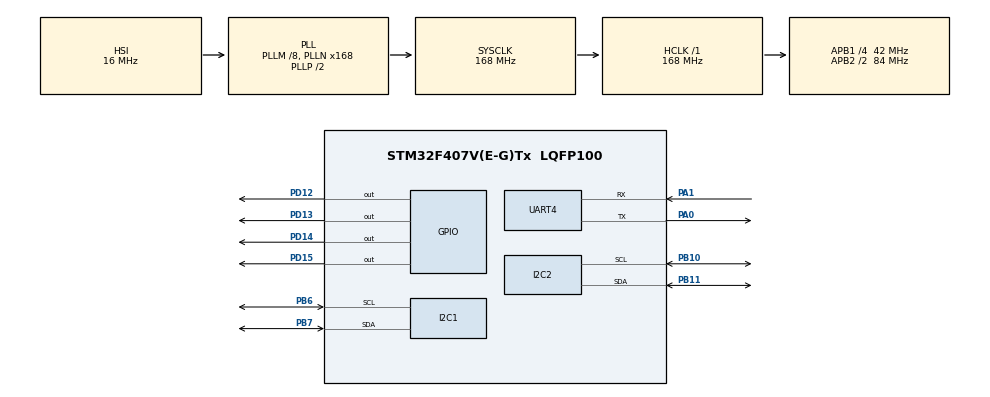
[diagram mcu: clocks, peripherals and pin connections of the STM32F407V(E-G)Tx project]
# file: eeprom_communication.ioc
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Dma.I2C1_RX.1.Direction=DMA_PERIPH_TO_MEMORY
Dma.I2C1_RX.1.FIFOMode=DMA_FIFOMODE_DISABLE
Dma.I2C1_RX.1.Instance=DMA1_Stream0
Dma.I2C1_RX.1.MemDataAlignment=DMA_MDATAALIGN_BYTE
Dma.I2C1_RX.1.MemInc=DMA_MINC_ENABLE
Dma.I2C1_RX.1.Mode=DMA_CIRCULAR
Dma.I2C1_RX.1.PeriphDataAlignment=DMA_PDATAALIGN_BYTE
Dma.I2C1_RX.1.PeriphInc=DMA_PINC_DISABLE
Dma.I2C1_RX.1.Priority=DMA_PRIORITY_LOW
Dma.I2C1_TX.2.Direction=DMA_MEMORY_TO_PERIPH
Dma.I2C1_TX.2.FIFOMode=DMA_FIFOMODE_DISABLE
Dma.I2C1_TX.2.Instance=DMA1_Stream6
Dma.I2C1_TX.2.MemDataAlignment=DMA_MDATAALIGN_BYTE
Dma.I2C1_TX.2.MemInc=DMA_MINC_ENABLE
Dma.I2C1_TX.2.Mode=DMA_CIRCULAR
Dma.I2C1_TX.2.PeriphDataAlignment=DMA_PDATAALIGN_BYTE
Dma.I2C1_TX.2.PeriphInc=DMA_PINC_DISABLE
Dma.I2C1_TX.2.Priority=DMA_PRIORITY_LOW
Dma.Request0=UART4_TX
Dma.Request1=I2C1_RX
Dma.Request2=I2C1_TX
Dma.UART4_TX.0.Direction=DMA_MEMORY_TO_PERIPH
Dma.UART4_TX.0.FIFOMode=DMA_FIFOMODE_DISABLE
Dma.UART4_TX.0.Instance=DMA1_Stream4
Dma.UART4_TX.0.MemDataAlignment=DMA_MDATAALIGN_BYTE
Dma.UART4_TX.0.MemInc=DMA_MINC_ENABLE
Dma.UART4_TX.0.Mode=DMA_NORMAL
Dma.UART4_TX.0.PeriphDataAlignment=DMA_PDATAALIGN_BYTE
Dma.UART4_TX.0.PeriphInc=DMA_PINC_DISABLE
Dma.UART4_TX.0.Priority=DMA_PRIORITY_LOW
Mcu.Family=STM32F4
Mcu.Name=STM32F407V(E-G)Tx
Mcu.Package=LQFP100
NVIC.DMA1_Stream0_IRQn=true\:0\:0\:false\:false\:true\:false
NVIC.DMA1_Stream4_IRQn=true\:0\:0\:false\:false\:true\:false
NVIC.DMA1_Stream6_IRQn=true\:0\:0\:false\:false\:true\:false
NVIC.I2C1_EV_IRQn=true\:0\:0\:false\:false\:true\:true
NVIC.I2C2_EV_IRQn=true\:0\:0\:false\:false\:true\:true
NVIC.PriorityGroup=NVIC_PRIORITYGROUP_4
NVIC.RCC_IRQn=true\:0\:0\:false\:false\:true\:true
NVIC.UART4_IRQn=true\:1\:0\:true\:false\:true\:true
PA0-WKUP.Mode=Asynchronous
PA0-WKUP.Signal=UART4_TX
PA1.Mode=Asynchronous
PA1.Signal=UART4_RX
PB10.Mode=I2C
PB10.Signal=I2C2_SCL
PB11.Mode=I2C
PB11.Signal=I2C2_SDA
PB6.Mode=I2C
PB6.Signal=I2C1_SCL
PB7.Mode=I2C
PB7.Signal=I2C1_SDA
PD12.Signal=GPIO_Output
PD13.Signal=GPIO_Output
PD14.Signal=GPIO_Output
PD15.Signal=GPIO_Output
PH0-OSC_IN.Mode=HSE-External-Oscillator
PH0-OSC_IN.Signal=RCC_OSC_IN
PH1-OSC_OUT.Mode=HSE-External-Oscillator
PH1-OSC_OUT.Signal=RCC_OSC_OUT
ProjectManager.HeapSize=0x200
ProjectManager.StackSize=0x400
ProjectManager.TargetToolchain=MDK-ARM V5
RCC.48MHZClocksFreq_Value=48000000
RCC.AHBFreq_Value=168000000
RCC.APB1CLKDivider=RCC_HCLK_DIV4
RCC.APB1Freq_Value=42000000
RCC.APB1TimFreq_Value=84000000
RCC.APB2CLKDivider=RCC_HCLK_DIV2
RCC.APB2Freq_Value=84000000
RCC.APB2TimFreq_Value=168000000
RCC.CortexFreq_Value=168000000
RCC.HCLKFreq_Value=168000000
RCC.HSE_VALUE=8000000
RCC.HSI_VALUE=16000000
RCC.LSE_VALUE=32768
RCC.PLLM=8
RCC.PLLN=168
RCC.PLLQ=7
RCC.SYSCLKFreq_VALUE=168000000
RCC.SYSCLKSource=RCC_SYSCLKSOURCE_PLLCLK
RCC.VCOOutputFreq_Value=336000000
UART4.VirtualMode=Asynchronous
board=STM32F4DISCOVERY

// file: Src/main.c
/**
  ******************************************************************************
  * @file           : main.c
  * @brief          : Main program body
  ******************************************************************************
  ** This notice applies to any and all portions of this file
  * that are not between comment pairs USER CODE BEGIN and
  * USER CODE END. Other portions of this file, whether
  * inserted by the user or by software development tools
  * are owned by their respective copyright owners.
  *
  * COPYRIGHT(c) 2021 STMicroelectronics
  *
  * Redistribution and use in source and binary forms, with or without modification,
  * are permitted provided that the following conditions are met:
  *   1. Redistributions of source code must retain the above copyright notice,
  *      this list of conditions and the following disclaimer.
  *   2. Redistributions in binary form must reproduce the above copyright notice,
  *      this list of conditions and the following disclaimer in the documentation
  *      and/or other materials provided with the distribution.
  *   3. Neither the name of STMicroelectronics nor the names of its contributors
  *      may be used to endorse or promote products derived from this software
  *      without specific prior written permission.
  *
  * THIS SOFTWARE IS PROVIDED BY THE COPYRIGHT HOLDERS AND CONTRIBUTORS "AS IS"
  * AND ANY EXPRESS OR IMPLIED WARRANTIES, INCLUDING, BUT NOT LIMITED TO, THE
  * IMPLIED WARRANTIES OF MERCHANTABILITY AND FITNESS FOR A PARTICULAR PURPOSE ARE
  * DISCLAIMED. IN NO EVENT SHALL THE COPYRIGHT HOLDER OR CONTRIBUTORS BE LIABLE
  * FOR ANY DIRECT, INDIRECT, INCIDENTAL, SPECIAL, EXEMPLARY, OR CONSEQUENTIAL
  * DAMAGES (INCLUDING, BUT NOT LIMITED TO, PROCUREMENT OF SUBSTITUTE GOODS OR
  * SERVICES; LOSS OF USE, DATA, OR PROFITS; OR BUSINESS INTERRUPTION) HOWEVER
  * CAUSED AND ON ANY THEORY OF LIABILITY, WHETHER IN CONTRACT, STRICT LIABILITY,
  * OR TORT (INCLUDING NEGLIGENCE OR OTHERWISE) ARISING IN ANY WAY OUT OF THE USE
  * OF THIS SOFTWARE, EVEN IF ADVISED OF THE POSSIBILITY OF SUCH DAMAGE.
  *
  ******************************************************************************
  */
#include "main.h"
#include "stm32f4xx_hal.h"

/* USER CODE BEGIN Includes */
#include <stdlib.h>
#include <string.h>
/* USER CODE END Includes */

I2C_HandleTypeDef hi2c1;
I2C_HandleTypeDef hi2c2;
DMA_HandleTypeDef hdma_i2c1_rx;
DMA_HandleTypeDef hdma_i2c1_tx;

UART_HandleTypeDef huart4;
DMA_HandleTypeDef hdma_uart4_tx;

/* USER CODE BEGIN PV */
/* Private variables ---------------------------------------------------------*/

/* USER CODE END PV */

void SystemClock_Config(void);
static void MX_GPIO_Init(void);
static void MX_DMA_Init(void);
static void MX_I2C1_Init(void);
static void MX_I2C2_Init(void);
static void MX_UART4_Init(void);

/* USER CODE BEGIN PFP */
/* Private function prototypes -----------------------------------------------*/
uint16_t string_to_number(uint8_t address[])
{
	volatile uint16_t result=0;
	volatile uint8_t a,b,c=0;

	if ((address[0]<= 57)&(address[0]>=48))
			a = address[0] - 48;
		else if ((address[0]>=65)&(address[0]<=70))
			a = address[0] - 55;
		else if ((address[0]>=97)&(address[0]<=102))
			a = address[0] - 87;

		if ((address[1]<= 57)&(address[1]>=48))
			b = address[1] - 48;
		else if ((address[1]>=65)&(address[1]<=70))
			b = address[1] - 55;
		else if ((address[1]>=97)&(address[1]<=102))
			b = address[1] - 87;

		if ((address[2]<= 57)&(address[2]>=48))
			c = address[2] - 48;
		else if ((address[2]>=65)&(address[2]<=70))
			c = address[2] - 55;
		else if ((address[2]>=97)&(address[2]<=102))
			c = address[2] - 87;

		result = a*16*16 + b*16 + c;

	return result;
	}

void Write_Mem(uint16_t address_from, uint16_t address_to, uint8_t content[])	;
	/* USER CODE END PFP */

/* USER CODE BEGIN 0 */

typedef unsigned char Byte;

uint8_t received_char;
uint8_t i, splitter_counter=1, str_index = 0, add1_index=0, add2_index=0, data_index=0 ;

uint8_t received_data[530];
uint8_t check1[2] = ".\n"; //debug
uint8_t check2[6] = "CHECK\n";
// unsigned char EOL_char = '_'; //debug hercules
uint8_t EOL_char = '\n';

uint8_t address1[3], address2[3];
uint16_t address1_num, address2_num;
uint8_t write_content[512];

uint8_t memory_data[512] = {0};
uint8_t xoa[16] = {0};
uint8_t xoa_n[512] = {0};

#define EEPROMM_ADDRESS  0xA0
/* USER CODE END 0 */

int main(void)
{

  /* MCU Configuration----------------------------------------------------------*/

  /* Reset of all peripherals, Initializes the Flash interface and the Systick. */
  HAL_Init();

  /* Configure the system clock */
  SystemClock_Config();

  /* Initialize all configured peripherals */
  MX_GPIO_Init();
  MX_DMA_Init();
  MX_I2C1_Init();
  MX_I2C2_Init();
  MX_UART4_Init();
  /* USER CODE BEGIN 2 */

	__HAL_UART_FLUSH_DRREGISTER(&huart4);
	HAL_UART_Receive_IT(&huart4, &received_char, 1);

	// quet toan bo eeprom, luu vao mang memory_data
	if (HAL_I2C_Mem_Read_DMA(&hi2c1, (uint16_t)EEPROMM_ADDRESS, 0, I2C_MEMADD_SIZE_8BIT, (uint8_t *)memory_data, 512) != HAL_OK)
  {
    /* Reading process Error */
    Error_Handler();
  }

  /* Wait for the end of the transfer */
  while (HAL_I2C_GetState(&hi2c1) != HAL_I2C_STATE_READY)
  {
  }

  /* USER CODE END 2 */

  /* Infinite loop */
  while (1)
  {

  /* USER CODE BEGIN 3 */

	HAL_GPIO_TogglePin(GPIOD, GPIO_PIN_12|GPIO_PIN_15);
	HAL_Delay(100);
	while (HAL_I2C_Mem_Read_DMA(&hi2c1, (uint16_t)EEPROMM_ADDRESS, 0, I2C_MEMADD_SIZE_8BIT, (uint8_t *)memory_data, 512) != HAL_OK);
//  {
//    /* Reading process Error */
//    Error_Handler();
//  }
	// HAL_UART_Transmit(&huart4, check2, sizeof(check2));

  }
  /* USER CODE END 3 */

}

void SystemClock_Config(void)
{

  RCC_OscInitTypeDef RCC_OscInitStruct;
  RCC_ClkInitTypeDef RCC_ClkInitStruct;

    /**Configure the main internal regulator output voltage
    */
  __HAL_RCC_PWR_CLK_ENABLE();

  __HAL_PWR_VOLTAGESCALING_CONFIG(PWR_REGULATOR_VOLTAGE_SCALE1);

    /**Initializes the CPU, AHB and APB busses clocks
    */
  RCC_OscInitStruct.OscillatorType = RCC_OSCILLATORTYPE_HSI;
  RCC_OscInitStruct.HSIState = RCC_HSI_ON;
  RCC_OscInitStruct.HSICalibrationValue = 16;
  RCC_OscInitStruct.PLL.PLLState = RCC_PLL_ON;
  RCC_OscInitStruct.PLL.PLLSource = RCC_PLLSOURCE_HSI;
  RCC_OscInitStruct.PLL.PLLM = 8;
  RCC_OscInitStruct.PLL.PLLN = 168;
  RCC_OscInitStruct.PLL.PLLP = RCC_PLLP_DIV2;
  RCC_OscInitStruct.PLL.PLLQ = 7;
  if (HAL_RCC_OscConfig(&RCC_OscInitStruct) != HAL_OK)
  {
    _Error_Handler(__FILE__, __LINE__);
  }

    /**Initializes the CPU, AHB and APB busses clocks
    */
  RCC_ClkInitStruct.ClockType = RCC_CLOCKTYPE_HCLK|RCC_CLOCKTYPE_SYSCLK
                              |RCC_CLOCKTYPE_PCLK1|RCC_CLOCKTYPE_PCLK2;
  RCC_ClkInitStruct.SYSCLKSource = RCC_SYSCLKSOURCE_PLLCLK;
  RCC_ClkInitStruct.AHBCLKDivider = RCC_SYSCLK_DIV1;
  RCC_ClkInitStruct.APB1CLKDivider = RCC_HCLK_DIV4;
  RCC_ClkInitStruct.APB2CLKDivider = RCC_HCLK_DIV2;

  if (HAL_RCC_ClockConfig(&RCC_ClkInitStruct, FLASH_LATENCY_5) != HAL_OK)
  {
    _Error_Handler(__FILE__, __LINE__);
  }

    /**Configure the Systick interrupt time
    */
  HAL_SYSTICK_Config(HAL_RCC_GetHCLKFreq()/1000);

    /**Configure the Systick
    */
  HAL_SYSTICK_CLKSourceConfig(SYSTICK_CLKSOURCE_HCLK);

  /* SysTick_IRQn interrupt configuration */
  HAL_NVIC_SetPriority(SysTick_IRQn, 0, 0);
}

/* I2C1 init function */
static void MX_I2C1_Init(void)
{

  hi2c1.Instance = I2C1;
  hi2c1.Init.ClockSpeed = 100000;
  hi2c1.Init.DutyCycle = I2C_DUTYCYCLE_2;
  hi2c1.Init.OwnAddress1 = 0;
  hi2c1.Init.AddressingMode = I2C_ADDRESSINGMODE_7BIT;
  hi2c1.Init.DualAddressMode = I2C_DUALADDRESS_DISABLE;
  hi2c1.Init.OwnAddress2 = 0;
  hi2c1.Init.GeneralCallMode = I2C_GENERALCALL_DISABLE;
  hi2c1.Init.NoStretchMode = I2C_NOSTRETCH_DISABLE;
  if (HAL_I2C_Init(&hi2c1) != HAL_OK)
  {
    _Error_Handler(__FILE__, __LINE__);
  }

}

/* I2C2 init function */
static void MX_I2C2_Init(void)
{

  hi2c2.Instance = I2C2;
  hi2c2.Init.ClockSpeed = 100000;
  hi2c2.Init.DutyCycle = I2C_DUTYCYCLE_2;
  hi2c2.Init.OwnAddress1 = 0;
  hi2c2.Init.AddressingMode = I2C_ADDRESSINGMODE_7BIT;
  hi2c2.Init.DualAddressMode = I2C_DUALADDRESS_DISABLE;
  hi2c2.Init.OwnAddress2 = 0;
  hi2c2.Init.GeneralCallMode = I2C_GENERALCALL_DISABLE;
  hi2c2.Init.NoStretchMode = I2C_NOSTRETCH_DISABLE;
  if (HAL_I2C_Init(&hi2c2) != HAL_OK)
  {
    _Error_Handler(__FILE__, __LINE__);
  }

}

/* UART4 init function */
static void MX_UART4_Init(void)
{

  huart4.Instance = UART4;
  huart4.Init.BaudRate = 115200;
  huart4.Init.WordLength = UART_WORDLENGTH_8B;
  huart4.Init.StopBits = UART_STOPBITS_1;
  huart4.Init.Parity = UART_PARITY_NONE;
  huart4.Init.Mode = UART_MODE_TX_RX;
  huart4.Init.HwFlowCtl = UART_HWCONTROL_NONE;
  huart4.Init.OverSampling = UART_OVERSAMPLING_16;
  if (HAL_UART_Init(&huart4) != HAL_OK)
  {
    _Error_Handler(__FILE__, __LINE__);
  }

}

static void MX_DMA_Init(void)
{
  /* DMA controller clock enable */
  __HAL_RCC_DMA1_CLK_ENABLE();

  /* DMA interrupt init */
  /* DMA1_Stream0_IRQn interrupt configuration */
  HAL_NVIC_SetPriority(DMA1_Stream0_IRQn, 0, 0);
  HAL_NVIC_EnableIRQ(DMA1_Stream0_IRQn);
  /* DMA1_Stream4_IRQn interrupt configuration */
  HAL_NVIC_SetPriority(DMA1_Stream4_IRQn, 0, 0);
  HAL_NVIC_EnableIRQ(DMA1_Stream4_IRQn);
  /* DMA1_Stream6_IRQn interrupt configuration */
  HAL_NVIC_SetPriority(DMA1_Stream6_IRQn, 0, 0);
  HAL_NVIC_EnableIRQ(DMA1_Stream6_IRQn);

}

/** Configure pins as
        * Analog
        * Input
        * Output
        * EVENT_OUT
        * EXTI
*/
static void MX_GPIO_Init(void)
{

  GPIO_InitTypeDef GPIO_InitStruct;

  /* GPIO Ports Clock Enable */
  __HAL_RCC_GPIOH_CLK_ENABLE();
  __HAL_RCC_GPIOA_CLK_ENABLE();
  __HAL_RCC_GPIOB_CLK_ENABLE();
  __HAL_RCC_GPIOD_CLK_ENABLE();

  /*Configure GPIO pin Output Level */
  HAL_GPIO_WritePin(GPIOD, GPIO_PIN_12|GPIO_PIN_13|GPIO_PIN_14|GPIO_PIN_15, GPIO_PIN_RESET);

  /*Configure GPIO pins : PD12 PD13 PD14 PD15 */
  GPIO_InitStruct.Pin = GPIO_PIN_12|GPIO_PIN_13|GPIO_PIN_14|GPIO_PIN_15;
  GPIO_InitStruct.Mode = GPIO_MODE_OUTPUT_PP;
  GPIO_InitStruct.Pull = GPIO_NOPULL;
  GPIO_InitStruct.Speed = GPIO_SPEED_FREQ_LOW;
  HAL_GPIO_Init(GPIOD, &GPIO_InitStruct);

}

/* USER CODE BEGIN 4 */
void HAL_UART_RxCpltCallback(UART_HandleTypeDef *huart) // chuong trinh ngat rx uart
	/* Rx callback for uart interrupt */
	{
		__HAL_UART_FLUSH_DRREGISTER(&huart4); // Clear the buffer to prevent overrun
		if (received_char == EOL_char) // ket thuc nhan vao 1 lenh
			{
				received_data[str_index] = received_char;
				str_index++;

				// HAL_UART_Transmit(&huart4, received_data, str_index);

				if (received_data[0]=='w')
				{
					/* command splitter for write command */
					for (i=2; i<str_index; i++)
					{
						if (received_data[i]=='-')
						{
							splitter_counter++;
						}
						if (splitter_counter==2)
						{
							if (received_data[i+1]==EOL_char)
								break;
							write_content[data_index] = received_data[i+1];
							data_index++;
						}
						else
						{
							address1[add1_index] = received_data[i];
							add1_index++;
						}
					}

					address1_num = string_to_number(address1);
					address2_num = address1_num + data_index;

					Write_Mem(address1_num, address2_num, write_content);

					// done
					/* write memory */

					/* command splitter for write command */
				}
				else if (received_data[0]=='r')
				{
					/* command splitter for read command */
					if (received_data[2] == '1')
					{
						for (i=4; i<str_index-1; i++)
						{
							address1[add1_index] = received_data[i];
							add1_index++;
						}
						address1_num = string_to_number(address1);
						// su dung mang da doc tu DMA circular
						HAL_UART_Transmit(&huart4, (uint8_t*)(&memory_data[address1_num]), 1, 100);
						// done
						// read 1
					}
					else if (received_data[2] == 'n')
					{
						for (i=4; i<str_index-1; i++)
						{
							if (received_data[i] == '-')
							{
								splitter_counter++;
							}
							else if (splitter_counter==2)
							{
								address2[add2_index] = received_data[i];
								add2_index++;
							}
							else
							{
								address1[add1_index] = received_data[i];
								add1_index++;
							}
						}
						address1_num = string_to_number(address1);
						address2_num = string_to_number(address2);

						// su dung mang da doc tu DMA circular
						if (HAL_UART_Transmit(&huart4, (uint8_t*)&(memory_data[address1_num]), address2_num - address1_num + 1, 100) != HAL_OK)
						{
							Error_Handler();
						}

						// done
						// read n
					}
					// read memory from address: address1
					// to address: address2
					/* command splitter for read command */
				}
				else if (received_data[0]=='d')
				{
					/* command splitter for delete command */
					if (received_data[2] == '1')
					{
						for (i=4; i<str_index-1; i++)
						{
							address1[add1_index] = received_data[i];
							add1_index++;
						}
						address1_num = string_to_number(address1);
						uint8_t xoa1 = 0;
						if (address1_num<256)
							{
							while (HAL_I2C_Mem_Write(&hi2c1, EEPROMM_ADDRESS, address1_num, I2C_MEMADD_SIZE_8BIT, &xoa1, 1, 100) != HAL_OK);
							HAL_Delay(10);
							}
						else
							{
							while (HAL_I2C_Mem_Write(&hi2c1, EEPROMM_ADDRESS+2, address1_num, I2C_MEMADD_SIZE_8BIT, &xoa1, 1, 100) != HAL_OK);
							HAL_Delay(10);
							}
							// done
						//delete at address1
					}
					else if (received_data[2] == 'n')
					{
						for (i=4; i<str_index-1; i++)
						{
							if (received_data[i] == '-')
							{
								splitter_counter++;
							}
							else if (splitter_counter==2)
							{
								address2[add2_index] = received_data[i];
								add2_index++;
							}
							else
							{
								address1[add1_index] = received_data[i];
								add1_index++;
							}
						}
						address1_num = string_to_number(address1);
						address2_num = string_to_number(address2);

						Write_Mem(address1_num, address2_num, xoa_n);
						// done
						//delete from address1 to address2
					}
					else if (received_data[2] == 'a') //xoa het
					{
						for (int j=0; j<16; j++)
							{
								while (HAL_I2C_Mem_Write(&hi2c1, EEPROMM_ADDRESS, j*16, I2C_MEMADD_SIZE_8BIT, xoa, 16, 100)!= HAL_OK);
								HAL_Delay(10);
							}
						for (int j=0; j<16; j++)
							{
								while (HAL_I2C_Mem_Write(&hi2c1, EEPROMM_ADDRESS + 2, j*16, I2C_MEMADD_SIZE_8BIT, xoa, 16, 100)!= HAL_OK);
								HAL_Delay(10);
							}
						// done
						// delete all
					}
					/* command splitter for delete command */
				}
				else if (received_data[0]=='s')
				{
					/* command splitter for scan command */
					while (HAL_UART_Transmit(&huart4, (uint8_t*)memory_data, 512, 100) != HAL_OK);
					HAL_Delay(10);
					/* command splitter for scan command */
				}
				str_index = 0;
				splitter_counter = 1;
				data_index = 0;
				add1_index = 0;
				add2_index = 0;
			}
		else
			{
				received_data[str_index] = received_char;
				str_index++;
			}
		HAL_UART_Receive_IT(&huart4, &received_char, 1);
	}

void Write_Mem(uint16_t address_from, uint16_t address_to, uint8_t content[])
{
	uint16_t number_of_bytes = address_to - address_from;
	uint16_t remaining_bytes = number_of_bytes;
	if (address_to <= 255)
	{
		while (remaining_bytes > 0)
		{
			while (HAL_I2C_Mem_Write(&hi2c1 , 0xA0, address_from, I2C_MEMADD_SIZE_8BIT, (uint8_t*)&(content[number_of_bytes - remaining_bytes]), 1, 10)!= HAL_OK)
			{
				/* Writing process Error */
				// Error_Handler();
			}
			remaining_bytes -= 1;
			address_from += 1;
		}
	}
	else if (address_from > 255)
	{
		while (remaining_bytes > 0)
		{
			while (HAL_I2C_Mem_Write(&hi2c1 , 0xA2, address_from - 256, I2C_MEMADD_SIZE_8BIT, (uint8_t*)&(content[number_of_bytes - remaining_bytes]), 1, 10)!= HAL_OK)
			{
				/* Writing process Error */
				// Error_Handler();
			}
			remaining_bytes -= 1;
			address_from += 1;
			}
		}
	else
	{
		uint8_t page_address;
		while (remaining_bytes > 0)
		{
			if (address_from >= 256)
			{
				page_address = 0xA2;
				// address_from -= 256;
			}
			else
				page_address = 0xA0;
			while (HAL_I2C_Mem_Write(&hi2c1 , page_address, address_from, I2C_MEMADD_SIZE_8BIT, (uint8_t*)&(content[number_of_bytes - remaining_bytes]), 1, 10)!= HAL_OK)
			{
				/* Writing process Error */
				// Error_Handler();
			}
			remaining_bytes -= 1;
			address_from += 1;
		}
	}
}

/* USER CODE END 4 */

void _Error_Handler(char *file, int line)
{
  /* USER CODE BEGIN Error_Handler_Debug */
  /* User can add his own implementation to report the HAL error return state */
  while(1)
  {
		HAL_GPIO_TogglePin(GPIOD, GPIO_PIN_13);
		HAL_Delay(200);
	}
  /* USER CODE END Error_Handler_Debug */
}

/************************ (C) COPYRIGHT STMicroelectronics *****END OF FILE****/
